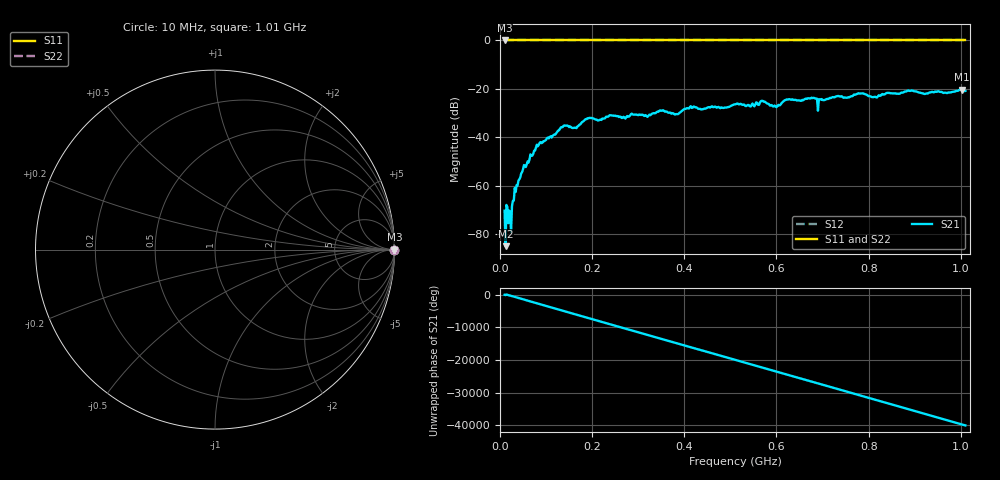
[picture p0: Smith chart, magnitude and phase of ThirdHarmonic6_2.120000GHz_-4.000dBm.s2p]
! 8/17/2025 1:20:31 AM
! C:\ANRITSUVNA\TEMP\TEMP.S2P
! CHANNEL.1
! TR.MEASUREMENT
! RAW.DATA
! RF.CORRECTION.OFF
! AVERAGING.OFF
! IF.BANDWIDTH: 5KHZ
! SWEEPTYPE:  FREQ.SWEEP(Linear)
! Reference Plane Port Info
! PORT:  PORT1  PORT2
! DISTANCE:  0  m  0  m
! TIME:  0  s  0  s
! PHASE.OFFSET:  0  deg.  0  deg.
! LOSS:  0  dB  0  dB
! REF.LOSS:  0  dB  0  dB
! REF.FREQ:  0  Hz  0  Hz
! Power Info
! POWER:  -20  dBm  -20  dBm
! EFF.POWER:  -20  dBm  -20  dBm
! SOURCE.ATTEN:  0  dB  0  dB
! TEST.ATTEN:  0  dB  0  dB
# GHZ S RI R 50.0
! FREQ.GHZ  S11RE  S11IM  S21RE  S21IM  S12RE  S12IM  S22RE  S22IM
!; PortSelection: Port_12
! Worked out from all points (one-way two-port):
!   501 points, 10 MHz to 1.01 GHz, reference 50 ohm
!   highest |S21| = -20.31 dB at 1.002 GHz (marker M1); lowest = -85.0 dB at 12 MHz (marker M2)
!   lowest |S11| = 0.0 dB at 10 MHz (marker M3)
!   |S11| at or under -10 dB: nowhere
!   |S22| runs from 0.0 to 0.0 dB; largest |S21 - S12| = 1.1
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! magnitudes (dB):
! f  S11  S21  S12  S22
! 10 MHz  0.0  -70.4  0.0  0.0
! 12 MHz  0.0  -85.0  0.0  0.0
! 18 MHz  0.0  -75.5  0.0  0.0
! 22 MHz  0.0  -71.5  0.0  0.0
! 36 MHz  0.0  -59.8  0.0  0.0
! 50 MHz  0.0  -53.2  0.0  0.0
! 84 MHz  0.0  -43.2  0.0  0.0
! 136 MHz  0.0  -35.8  0.0  0.0
! 162 MHz  0.0  -36.1  0.0  0.0
! 178 MHz  0.0  -33.8  0.0  0.0
! 344 MHz  0.0  -29.4  0.0  0.0
! 382 MHz  0.0  -30.4  0.0  0.0
! 416 MHz  0.0  -27.9  0.0  0.0
! 510 MHz  0.0  -26.4  0.0  0.0
! 570 MHz  0.0  -24.9  0.0  0.0
! 598 MHz  0.0  -27.3  0.0  0.0
! 624 MHz  0.0  -24.4  0.0  0.0
! 678 MHz  0.0  -23.8  0.0  0.0
! 694 MHz  0.0  -24.3  0.0  0.0
! 844 MHz  0.0  -21.7  0.0  0.0
! 1.002 GHz  0.0  -20.3  0.0  0.0
! 1.01 GHz  0.0  -20.9  0.0  0.0
